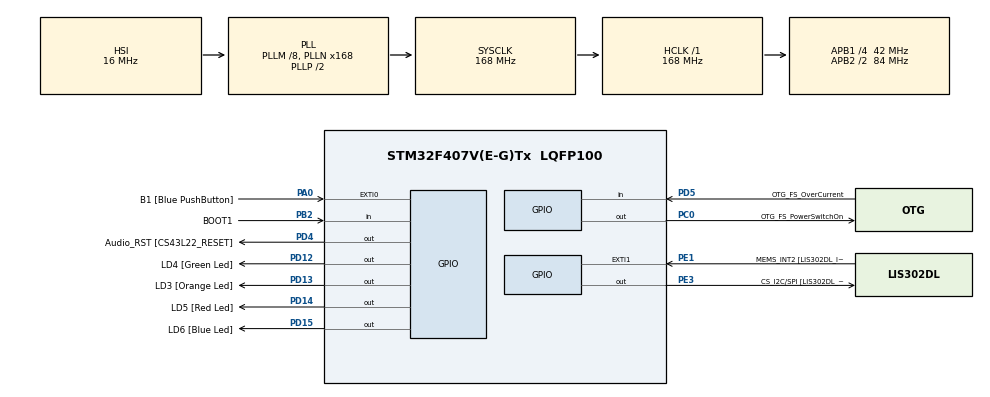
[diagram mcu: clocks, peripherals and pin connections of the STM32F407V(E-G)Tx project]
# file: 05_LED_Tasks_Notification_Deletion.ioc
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Mcu.Family=STM32F4
Mcu.Name=STM32F407V(E-G)Tx
Mcu.Package=LQFP100
NVIC.PriorityGroup=NVIC_PRIORITYGROUP_4
NVIC.TIM6_DAC_IRQn=true\:0\:0\:false\:false\:true\:false\:true\:true
NVIC.TimeBase=TIM6_DAC_IRQn
NVIC.TimeBaseIP=TIM6
PA0-WKUP.GPIO_Label=B1 [Blue PushButton]
PA0-WKUP.Signal=GPXTI0
PA10.GPIO_Label=OTG_FS_ID
PA10.GPIO_Mode=GPIO_MODE_AF_PP
PA10.GPIO_PuPd=GPIO_NOPULL
PA10.GPIO_Speed=GPIO_SPEED_FREQ_LOW
PA10.Signal=USB_OTG_FS_ID
PA11.GPIO_Label=OTG_FS_DM
PA11.GPIO_Mode=GPIO_MODE_AF_PP
PA11.GPIO_PuPd=GPIO_NOPULL
PA11.GPIO_Speed=GPIO_SPEED_FREQ_LOW
PA11.Signal=USB_OTG_FS_DM
PA12.GPIO_Label=OTG_FS_DP
PA12.GPIO_Mode=GPIO_MODE_AF_PP
PA12.GPIO_PuPd=GPIO_NOPULL
PA12.GPIO_Speed=GPIO_SPEED_FREQ_LOW
PA12.Signal=USB_OTG_FS_DP
PA13.GPIO_Label=SWDIO
PA13.Signal=SYS_JTMS-SWDIO
PA14.GPIO_Label=SWCLK
PA14.Signal=SYS_JTCK-SWCLK
PA4.GPIO_Label=I2S3_WS [CS43L22_LRCK]
PA4.GPIO_Mode=GPIO_MODE_AF_PP
PA4.GPIO_PuPd=GPIO_NOPULL
PA4.GPIO_Speed=GPIO_SPEED_FREQ_LOW
PA4.Signal=I2S3_WS
PA5.GPIO_Label=SPI1_SCK [LIS302DL_SCL/SPC]
PA5.GPIO_Mode=GPIO_MODE_AF_PP
PA5.GPIO_PuPd=GPIO_NOPULL
PA5.GPIO_Speed=GPIO_SPEED_FREQ_LOW
PA5.Signal=SPI1_SCK
PA6.GPIO_Label=SPI1_MISO [LIS302DL_SDO]
PA6.GPIO_Mode=GPIO_MODE_AF_PP
PA6.GPIO_PuPd=GPIO_NOPULL
PA6.GPIO_Speed=GPIO_SPEED_FREQ_LOW
PA6.Signal=SPI1_MISO
PA7.GPIO_Label=SPI1_MOSI [LIS302DL_SDA/SDI/SDO]
PA7.GPIO_Mode=GPIO_MODE_AF_PP
PA7.GPIO_PuPd=GPIO_NOPULL
PA7.GPIO_Speed=GPIO_SPEED_FREQ_LOW
PA7.Signal=SPI1_MOSI
PA9.GPIO_Label=VBUS_FS
PA9.GPIO_Mode=GPIO_MODE_INPUT
PA9.GPIO_PuPd=GPIO_NOPULL
PA9.Signal=USB_OTG_FS_VBUS
PB10.GPIO_Label=CLK_IN [MP45DT02_CLK]
PB10.GPIO_Mode=GPIO_MODE_AF_PP
PB10.GPIO_PuPd=GPIO_NOPULL
PB10.GPIO_Speed=GPIO_SPEED_FREQ_LOW
PB10.Signal=I2S2_CK
PB2.GPIO_Label=BOOT1
PB2.GPIO_Mode=GPIO_MODE_INPUT
PB2.GPIO_PuPd=GPIO_NOPULL
PB2.Signal=GPIO_Input
PB3.GPIO_Label=SWO
PB3.Signal=SYS_JTDO-SWO
PB6.GPIO_Label=Audio_SCL [CS43L22_SCL]
PB6.GPIO_Mode=GPIO_MODE_AF_OD
PB6.GPIO_PuPd=GPIO_NOPULL
PB6.GPIO_Speed=GPIO_SPEED_FREQ_LOW
PB6.Signal=I2C1_SCL
PB9.GPIO_Label=Audio_SDA [CS43L22_SDA]
PB9.GPIO_Mode=GPIO_MODE_AF_OD
PB9.GPIO_PuPd=GPIO_NOPULL
PB9.GPIO_Speed=GPIO_SPEED_FREQ_LOW
PB9.Signal=I2C1_SDA
PC0.GPIO_Label=OTG_FS_PowerSwitchOn
PC0.GPIO_PuPd=GPIO_NOPULL
PC0.GPIO_Speed=GPIO_SPEED_FREQ_LOW
PC0.PinState=GPIO_PIN_SET
PC0.Signal=GPIO_Output
PC10.GPIO_Label=I2S3_SCK [CS43L22_SCLK]
PC10.GPIO_Mode=GPIO_MODE_AF_PP
PC10.GPIO_PuPd=GPIO_NOPULL
PC10.GPIO_Speed=GPIO_SPEED_FREQ_LOW
PC10.Signal=I2S3_CK
PC12.GPIO_Label=I2S3_SD [CS43L22_SDIN]
PC12.GPIO_Mode=GPIO_MODE_AF_PP
PC12.GPIO_PuPd=GPIO_NOPULL
PC12.GPIO_Speed=GPIO_SPEED_FREQ_LOW
PC12.Signal=I2S3_SD
PC14-OSC32_IN.GPIO_Label=PC14-OSC32_IN
PC14-OSC32_IN.Signal=RCC_OSC32_IN
PC15-OSC32_OUT.GPIO_Label=PC15-OSC32_OUT
PC15-OSC32_OUT.Signal=RCC_OSC32_OUT
PC3.GPIO_Label=PDM_OUT [MP45DT02_DOUT]
PC3.GPIO_Mode=GPIO_MODE_AF_PP
PC3.GPIO_PuPd=GPIO_NOPULL
PC3.GPIO_Speed=GPIO_SPEED_FREQ_LOW
PC3.Signal=I2S2_SD
PC7.GPIO_Label=I2S3_MCK [CS43L22_MCLK]
PC7.GPIO_Mode=GPIO_MODE_AF_PP
PC7.GPIO_PuPd=GPIO_NOPULL
PC7.GPIO_Speed=GPIO_SPEED_FREQ_LOW
PC7.Signal=I2S3_MCK
PD12.GPIO_Label=LD4 [Green Led]
PD12.GPIO_PuPd=GPIO_NOPULL
PD12.GPIO_Speed=GPIO_SPEED_FREQ_LOW
PD12.Signal=GPIO_Output
PD13.GPIO_Label=LD3 [Orange Led]
PD13.GPIO_PuPd=GPIO_NOPULL
PD13.GPIO_Speed=GPIO_SPEED_FREQ_LOW
PD13.Signal=GPIO_Output
PD14.GPIO_Label=LD5 [Red Led]
PD14.GPIO_PuPd=GPIO_NOPULL
PD14.GPIO_Speed=GPIO_SPEED_FREQ_LOW
PD14.Signal=GPIO_Output
PD15.GPIO_Label=LD6 [Blue Led]
PD15.GPIO_PuPd=GPIO_NOPULL
PD15.GPIO_Speed=GPIO_SPEED_FREQ_LOW
PD15.Signal=GPIO_Output
PD4.GPIO_Label=Audio_RST [CS43L22_RESET]
PD4.GPIO_PuPd=GPIO_NOPULL
PD4.GPIO_Speed=GPIO_SPEED_FREQ_LOW
PD4.Signal=GPIO_Output
PD5.GPIO_Label=OTG_FS_OverCurrent
PD5.GPIO_Mode=GPIO_MODE_INPUT
PD5.GPIO_PuPd=GPIO_NOPULL
PD5.Signal=GPIO_Input
PE1.GPIO_Label=MEMS_INT2 [LIS302DL_INT2]
PE1.GPIO_ModeDefaultEXTI=GPIO_MODE_EVT_RISING
PE1.GPIO_PuPd=GPIO_NOPULL
PE1.Signal=GPXTI1
PE3.GPIO_Label=CS_I2C/SPI [LIS302DL_CS_I2C/SPI]
PE3.GPIO_PuPd=GPIO_NOPULL
PE3.GPIO_Speed=GPIO_SPEED_FREQ_LOW
PE3.Signal=GPIO_Output
PH0-OSC_IN.GPIO_Label=PH0-OSC_IN
PH0-OSC_IN.Signal=RCC_OSC_IN
PH1-OSC_OUT.GPIO_Label=PH1-OSC_OUT
PH1-OSC_OUT.Signal=RCC_OSC_OUT
ProjectManager.HeapSize=0x200
ProjectManager.StackSize=0x400
ProjectManager.TargetToolchain=STM32CubeIDE
RCC.48MHZClocksFreq_Value=48000000
RCC.AHBFreq_Value=168000000
RCC.APB1CLKDivider=RCC_HCLK_DIV4
RCC.APB1Freq_Value=42000000
RCC.APB1TimFreq_Value=84000000
RCC.APB2CLKDivider=RCC_HCLK_DIV2
RCC.APB2Freq_Value=84000000
RCC.APB2TimFreq_Value=168000000
RCC.CortexFreq_Value=168000000
RCC.HCLKFreq_Value=168000000
RCC.HSE_VALUE=8000000
RCC.HSI_VALUE=16000000
RCC.LSE_VALUE=32768
RCC.PLLM=8
RCC.PLLN=168
RCC.PLLQ=7
RCC.SYSCLKFreq_VALUE=168000000
RCC.SYSCLKSource=RCC_SYSCLKSOURCE_PLLCLK
RCC.VCOOutputFreq_Value=336000000
VP_SYS_VS_tim6.Mode=TIM6
board=STM32F407G-DISC1

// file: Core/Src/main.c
/* USER CODE BEGIN Header */
/**
  ******************************************************************************
  * @file           : main.c
  * @brief          : Main program body
  ******************************************************************************
  * @attention
  *
  * Copyright (c) 2023 STMicroelectronics.
  * All rights reserved.
  *
  * This software is licensed under terms that can be found in the LICENSE file
  * in the root directory of this software component.
  * If no LICENSE file comes with this software, it is provided AS-IS.
  *
  ******************************************************************************
  */
/* USER CODE END Header */
#include "main.h"

/* USER CODE BEGIN Includes */
#include "FreeRTOS.h"
#include "task.h"
/* USER CODE END Includes */

/* USER CODE BEGIN PV */
#define DWT_CTRL	(*(uint32_t volatile *)0xE0001000)

TaskHandle_t led_green_task_handle;
TaskHandle_t led_orange_task_handle;
TaskHandle_t led_red_task_handle;
TaskHandle_t button_task_handle;

/* USER CODE END PV */

void SystemClock_Config(void);
static void MX_GPIO_Init(void);
/* USER CODE BEGIN PFP */
static void led_green_task_handler(void *parameters);
static void led_orange_task_handler(void *parameters);
static void led_red_task_handler(void *parameters);
static void button_task_handler(void *parameters);

extern void SEGGER_UART_init(uint32_t);
extern void vInitPrioGroupValue(void);
/* USER CODE END PFP */

/* USER CODE BEGIN 0 */
TaskHandle_t volatile next_task_handle = NULL;	// Share variable
/* USER CODE END 0 */

int main(void)
{
  /* USER CODE BEGIN 1 */

  BaseType_t status;	// Stores the return value of xTaskCreate()
  /* USER CODE END 1 */

  /* MCU Configuration--------------------------------------------------------*/

  /* Reset of all peripherals, Initializes the Flash interface and the Systick. */
  HAL_Init();

  /* Configure the system clock */
  SystemClock_Config();

  /* Initialize all configured peripherals */
  MX_GPIO_Init();
  /* USER CODE BEGIN 2 */

  // Enable the cycle counter
  DWT_CTRL |= (0x1 << 0);	// Set SYCCNTENA bit of DWT_CYCCNT register

  // Initialize UART with desired baudrate for SEGGER SystemView with UART-based recording
  SEGGER_UART_init(500000);

  // Start the SEGGER SystemView recording of events
  SEGGER_SYSVIEW_Conf();
  //SEGGER_SYSVIEW_Start(); // This function will be called from ThirdParty/Rec/segger_uart.c

  // Create LED_Green_Task and make sure that the task creation was successful
  status = xTaskCreate(led_green_task_handler, "LED_Green_Task", 200, NULL, 3, &led_green_task_handle);
  configASSERT(status == pdPASS);

  // Make the LED_Green_Task the first task to run
  next_task_handle = led_green_task_handle;

  // Create LED_Orange_Task and make sure that the task creation was successful
  status = xTaskCreate(led_orange_task_handler, "LED_Orange_Task", 200, NULL, 2, &led_orange_task_handle);
  configASSERT(status == pdPASS);

  // Create LED_Red_Task and make sure that the task creation was successful
  status = xTaskCreate(led_red_task_handler, "LED_red_Task", 200, NULL, 1, &led_red_task_handle);
  configASSERT(status == pdPASS);

  // Create Button_Task and make sure that the task creation was successful
  // According to the requirements, the Button Task must be of the highest priority among
  status = xTaskCreate(button_task_handler, "Button_Task", 200, NULL, 4, &button_task_handle);
  configASSERT(status == pdPASS);

  // Start FreeRTOS scheduler
  // vTaskStartScheduler() never returns unless there's a problem launching scheduler
  vTaskStartScheduler();

  // This line will only be reached if the kernel could not be started because there was
  // not enough FreeRTOS heap to create the idle task or the timer task.
  /* USER CODE END 2 */

  /* Infinite loop */
  while (1)
  {

  }
}

void SystemClock_Config(void)
{
  RCC_OscInitTypeDef RCC_OscInitStruct = {0};
  RCC_ClkInitTypeDef RCC_ClkInitStruct = {0};

  /** Configure the main internal regulator output voltage
  */
  __HAL_RCC_PWR_CLK_ENABLE();
  __HAL_PWR_VOLTAGESCALING_CONFIG(PWR_REGULATOR_VOLTAGE_SCALE1);

  /** Initializes the RCC Oscillators according to the specified parameters
  * in the RCC_OscInitTypeDef structure.
  */
  RCC_OscInitStruct.OscillatorType = RCC_OSCILLATORTYPE_HSI;
  RCC_OscInitStruct.HSIState = RCC_HSI_ON;
  RCC_OscInitStruct.HSICalibrationValue = RCC_HSICALIBRATION_DEFAULT;
  RCC_OscInitStruct.PLL.PLLState = RCC_PLL_ON;
  RCC_OscInitStruct.PLL.PLLSource = RCC_PLLSOURCE_HSI;
  RCC_OscInitStruct.PLL.PLLM = 8;
  RCC_OscInitStruct.PLL.PLLN = 168;
  RCC_OscInitStruct.PLL.PLLP = RCC_PLLP_DIV2;
  RCC_OscInitStruct.PLL.PLLQ = 7;
  if (HAL_RCC_OscConfig(&RCC_OscInitStruct) != HAL_OK)
  {
    Error_Handler();
  }

  /** Initializes the CPU, AHB and APB buses clocks
  */
  RCC_ClkInitStruct.ClockType = RCC_CLOCKTYPE_HCLK|RCC_CLOCKTYPE_SYSCLK
                              |RCC_CLOCKTYPE_PCLK1|RCC_CLOCKTYPE_PCLK2;
  RCC_ClkInitStruct.SYSCLKSource = RCC_SYSCLKSOURCE_PLLCLK;
  RCC_ClkInitStruct.AHBCLKDivider = RCC_SYSCLK_DIV1;
  RCC_ClkInitStruct.APB1CLKDivider = RCC_HCLK_DIV4;
  RCC_ClkInitStruct.APB2CLKDivider = RCC_HCLK_DIV2;

  if (HAL_RCC_ClockConfig(&RCC_ClkInitStruct, FLASH_LATENCY_5) != HAL_OK)
  {
    Error_Handler();
  }
}

static void MX_GPIO_Init(void)
{
  GPIO_InitTypeDef GPIO_InitStruct = {0};

  /* GPIO Ports Clock Enable */
  __HAL_RCC_GPIOE_CLK_ENABLE();
  __HAL_RCC_GPIOC_CLK_ENABLE();
  __HAL_RCC_GPIOH_CLK_ENABLE();
  __HAL_RCC_GPIOA_CLK_ENABLE();
  __HAL_RCC_GPIOB_CLK_ENABLE();
  __HAL_RCC_GPIOD_CLK_ENABLE();

  /*Configure GPIO pin Output Level */
  HAL_GPIO_WritePin(CS_I2C_SPI_GPIO_Port, CS_I2C_SPI_Pin, GPIO_PIN_RESET);

  /*Configure GPIO pin Output Level */
  HAL_GPIO_WritePin(OTG_FS_PowerSwitchOn_GPIO_Port, OTG_FS_PowerSwitchOn_Pin, GPIO_PIN_SET);

  /*Configure GPIO pin Output Level */
  HAL_GPIO_WritePin(GPIOD, LD4_Pin|LD3_Pin|LD5_Pin|LD6_Pin
                          |Audio_RST_Pin, GPIO_PIN_RESET);

  /*Configure GPIO pin : CS_I2C_SPI_Pin */
  GPIO_InitStruct.Pin = CS_I2C_SPI_Pin;
  GPIO_InitStruct.Mode = GPIO_MODE_OUTPUT_PP;
  GPIO_InitStruct.Pull = GPIO_NOPULL;
  GPIO_InitStruct.Speed = GPIO_SPEED_FREQ_LOW;
  HAL_GPIO_Init(CS_I2C_SPI_GPIO_Port, &GPIO_InitStruct);

  /*Configure GPIO pin : OTG_FS_PowerSwitchOn_Pin */
  GPIO_InitStruct.Pin = OTG_FS_PowerSwitchOn_Pin;
  GPIO_InitStruct.Mode = GPIO_MODE_OUTPUT_PP;
  GPIO_InitStruct.Pull = GPIO_NOPULL;
  GPIO_InitStruct.Speed = GPIO_SPEED_FREQ_LOW;
  HAL_GPIO_Init(OTG_FS_PowerSwitchOn_GPIO_Port, &GPIO_InitStruct);

  /*Configure GPIO pin : PDM_OUT_Pin */
  GPIO_InitStruct.Pin = PDM_OUT_Pin;
  GPIO_InitStruct.Mode = GPIO_MODE_AF_PP;
  GPIO_InitStruct.Pull = GPIO_NOPULL;
  GPIO_InitStruct.Speed = GPIO_SPEED_FREQ_LOW;
  GPIO_InitStruct.Alternate = GPIO_AF5_SPI2;
  HAL_GPIO_Init(PDM_OUT_GPIO_Port, &GPIO_InitStruct);

  /*Configure GPIO pin : B1_Pin */
  GPIO_InitStruct.Pin = B1_Pin;
  GPIO_InitStruct.Mode = GPIO_MODE_IT_RISING;
  GPIO_InitStruct.Pull = GPIO_NOPULL;
  HAL_GPIO_Init(B1_GPIO_Port, &GPIO_InitStruct);

  /*Configure GPIO pin : I2S3_WS_Pin */
  GPIO_InitStruct.Pin = I2S3_WS_Pin;
  GPIO_InitStruct.Mode = GPIO_MODE_AF_PP;
  GPIO_InitStruct.Pull = GPIO_NOPULL;
  GPIO_InitStruct.Speed = GPIO_SPEED_FREQ_LOW;
  GPIO_InitStruct.Alternate = GPIO_AF6_SPI3;
  HAL_GPIO_Init(I2S3_WS_GPIO_Port, &GPIO_InitStruct);

  /*Configure GPIO pins : SPI1_SCK_Pin SPI1_MISO_Pin SPI1_MOSI_Pin */
  GPIO_InitStruct.Pin = SPI1_SCK_Pin|SPI1_MISO_Pin|SPI1_MOSI_Pin;
  GPIO_InitStruct.Mode = GPIO_MODE_AF_PP;
  GPIO_InitStruct.Pull = GPIO_NOPULL;
  GPIO_InitStruct.Speed = GPIO_SPEED_FREQ_LOW;
  GPIO_InitStruct.Alternate = GPIO_AF5_SPI1;
  HAL_GPIO_Init(GPIOA, &GPIO_InitStruct);

  /*Configure GPIO pin : BOOT1_Pin */
  GPIO_InitStruct.Pin = BOOT1_Pin;
  GPIO_InitStruct.Mode = GPIO_MODE_INPUT;
  GPIO_InitStruct.Pull = GPIO_NOPULL;
  HAL_GPIO_Init(BOOT1_GPIO_Port, &GPIO_InitStruct);

  /*Configure GPIO pin : CLK_IN_Pin */
  GPIO_InitStruct.Pin = CLK_IN_Pin;
  GPIO_InitStruct.Mode = GPIO_MODE_AF_PP;
  GPIO_InitStruct.Pull = GPIO_NOPULL;
  GPIO_InitStruct.Speed = GPIO_SPEED_FREQ_LOW;
  GPIO_InitStruct.Alternate = GPIO_AF5_SPI2;
  HAL_GPIO_Init(CLK_IN_GPIO_Port, &GPIO_InitStruct);

  /*Configure GPIO pins : LD4_Pin LD3_Pin LD5_Pin LD6_Pin
                           Audio_RST_Pin */
  GPIO_InitStruct.Pin = LD4_Pin|LD3_Pin|LD5_Pin|LD6_Pin
                          |Audio_RST_Pin;
  GPIO_InitStruct.Mode = GPIO_MODE_OUTPUT_PP;
  GPIO_InitStruct.Pull = GPIO_NOPULL;
  GPIO_InitStruct.Speed = GPIO_SPEED_FREQ_LOW;
  HAL_GPIO_Init(GPIOD, &GPIO_InitStruct);

  /*Configure GPIO pins : I2S3_MCK_Pin I2S3_SCK_Pin I2S3_SD_Pin */
  GPIO_InitStruct.Pin = I2S3_MCK_Pin|I2S3_SCK_Pin|I2S3_SD_Pin;
  GPIO_InitStruct.Mode = GPIO_MODE_AF_PP;
  GPIO_InitStruct.Pull = GPIO_NOPULL;
  GPIO_InitStruct.Speed = GPIO_SPEED_FREQ_LOW;
  GPIO_InitStruct.Alternate = GPIO_AF6_SPI3;
  HAL_GPIO_Init(GPIOC, &GPIO_InitStruct);

  /*Configure GPIO pin : VBUS_FS_Pin */
  GPIO_InitStruct.Pin = VBUS_FS_Pin;
  GPIO_InitStruct.Mode = GPIO_MODE_INPUT;
  GPIO_InitStruct.Pull = GPIO_NOPULL;
  HAL_GPIO_Init(VBUS_FS_GPIO_Port, &GPIO_InitStruct);

  /*Configure GPIO pins : OTG_FS_ID_Pin OTG_FS_DM_Pin OTG_FS_DP_Pin */
  GPIO_InitStruct.Pin = OTG_FS_ID_Pin|OTG_FS_DM_Pin|OTG_FS_DP_Pin;
  GPIO_InitStruct.Mode = GPIO_MODE_AF_PP;
  GPIO_InitStruct.Pull = GPIO_NOPULL;
  GPIO_InitStruct.Speed = GPIO_SPEED_FREQ_LOW;
  GPIO_InitStruct.Alternate = GPIO_AF10_OTG_FS;
  HAL_GPIO_Init(GPIOA, &GPIO_InitStruct);

  /*Configure GPIO pin : OTG_FS_OverCurrent_Pin */
  GPIO_InitStruct.Pin = OTG_FS_OverCurrent_Pin;
  GPIO_InitStruct.Mode = GPIO_MODE_INPUT;
  GPIO_InitStruct.Pull = GPIO_NOPULL;
  HAL_GPIO_Init(OTG_FS_OverCurrent_GPIO_Port, &GPIO_InitStruct);

  /*Configure GPIO pins : Audio_SCL_Pin Audio_SDA_Pin */
  GPIO_InitStruct.Pin = Audio_SCL_Pin|Audio_SDA_Pin;
  GPIO_InitStruct.Mode = GPIO_MODE_AF_OD;
  GPIO_InitStruct.Pull = GPIO_NOPULL;
  GPIO_InitStruct.Speed = GPIO_SPEED_FREQ_LOW;
  GPIO_InitStruct.Alternate = GPIO_AF4_I2C1;
  HAL_GPIO_Init(GPIOB, &GPIO_InitStruct);

  /*Configure GPIO pin : MEMS_INT2_Pin */
  GPIO_InitStruct.Pin = MEMS_INT2_Pin;
  GPIO_InitStruct.Mode = GPIO_MODE_EVT_RISING;
  GPIO_InitStruct.Pull = GPIO_NOPULL;
  HAL_GPIO_Init(MEMS_INT2_GPIO_Port, &GPIO_InitStruct);

}

/* USER CODE BEGIN 4 */

// LED Green task handler
static void led_green_task_handler(void *parameters)
{
	BaseType_t status;

	while (1)
	{
		SEGGER_SYSVIEW_PrintfTarget("Toggling green LED");
		HAL_GPIO_TogglePin(GPIOD, LED_GREEN_PIN);

		// If there's no notifications pending, go to the BLOCKED state for 1 sec
		// until it receives a notification.
		status = xTaskNotifyWait(0, 0, NULL, pdMS_TO_TICKS(1000));

		if (status == pdTRUE)
		{
			// If there was a notification (i.e., User has pressed the button),
			// update the 'next_task_handle', turn the LED on, and delete itself.
			vTaskSuspendAll();	// Synchronization begins
			next_task_handle = led_orange_task_handle;
			xTaskResumeAll();	// Synchronization ends
			HAL_GPIO_WritePin(GPIOD, LED_GREEN_PIN, GPIO_PIN_SET);
			SEGGER_SYSVIEW_PrintfTarget("Delete Green LED Task");
			vTaskDelete(NULL);
		}
	}
}

// LED Orange task handler
static void led_orange_task_handler(void *parameters)
{
	BaseType_t status;

	while (1)
	{
		SEGGER_SYSVIEW_PrintfTarget("Toggling orange LED");
		HAL_GPIO_TogglePin(GPIOD, LED_ORANGE_PIN);

		// If there's no notifications pending, go to the BLOCKED state for 1 sec
		// until it receives a notification.
		status = xTaskNotifyWait(0, 0, NULL, pdMS_TO_TICKS(800));

		if (status == pdTRUE)
		{
			// If there was a notification (i.e., User has pressed the button),
			// update the 'next_task_handle', turn the LED on, and delete itself.
			vTaskSuspendAll();	// Synchronization begins
			next_task_handle = led_red_task_handle;
			xTaskResumeAll();	// Synchronization ends
			HAL_GPIO_WritePin(GPIOD, LED_ORANGE_PIN, GPIO_PIN_SET);
			SEGGER_SYSVIEW_PrintfTarget("Delete Orange LED Task");
			vTaskDelete(NULL);
		}
	}
}

// LED Red task handler
static void led_red_task_handler(void *parameters)
{
	BaseType_t status;

	while (1)
	{
		SEGGER_SYSVIEW_PrintfTarget("Toggling red LED");
		HAL_GPIO_TogglePin(GPIOD, LED_RED_PIN);

		// If there's no notifications pending, go to the BLOCKED state for 1 sec
		// until it receives a notification.
		status = xTaskNotifyWait(0, 0, NULL, pdMS_TO_TICKS(400));

		if (status == pdTRUE)
		{
			// If there was a notification (i.e., User has pressed the button),
			// update the 'next_task_handle', turn the LED on, delete itself
			// and the button task.
			vTaskSuspendAll();	// Synchronization begins
			next_task_handle = NULL;
			xTaskResumeAll();	// Synchronization ends
			HAL_GPIO_WritePin(GPIOD, LED_RED_PIN, GPIO_PIN_SET);
			SEGGER_SYSVIEW_PrintfTarget("Delete Red LED Task");
			vTaskDelete(NULL);
			vTaskDelete(button_task_handle);
		}
	}
}

// Button task handler
static void button_task_handler(void *parameters)
{
	uint8_t btn_status = 0;
	uint8_t prev_btn_status = 0;

	while (1)
	{
		// Read the button status
		btn_status = HAL_GPIO_ReadPin(GPIOA, GPIO_PIN_0);

		if (btn_status)
		{
			// Notify only if the previous button status was LOW
			if (!prev_btn_status)
				xTaskNotify(next_task_handle, 0, eNoAction);
		}

		// Update the previous button status
		prev_btn_status = btn_status;
		vTaskDelay(pdMS_TO_TICKS(10));
	}
}

/* USER CODE END 4 */

void HAL_TIM_PeriodElapsedCallback(TIM_HandleTypeDef *htim)
{
  if (htim->Instance == TIM6) {
    HAL_IncTick();
  }
}

void Error_Handler(void)
{
  __disable_irq();
  while (1)
  {
  }
}
